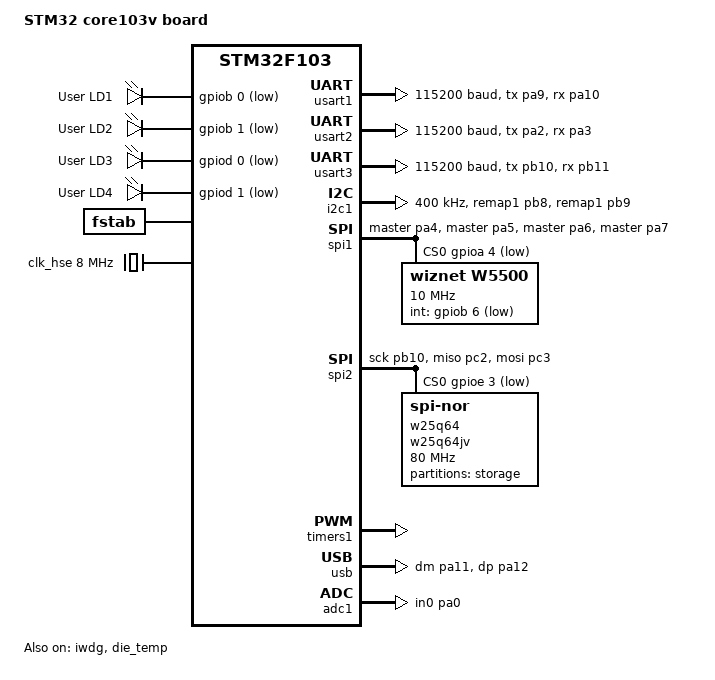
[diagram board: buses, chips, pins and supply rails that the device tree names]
/*
 * Copyright (c) 2020 WuhanStudio
 *
 * SPDX-License-Identifier: Apache-2.0
 */

/dts-v1/;
#include <st/f1/stm32f103Xe.dtsi>
#include <st/f1/stm32f103r(c-d-e)tx-pinctrl.dtsi>

/ {
	model = "STM32 core103v board";
	compatible = "stm32f103";

	chosen {
		zephyr,console = &usart1;
		zephyr,shell-uart = &usart1;
		zephyr,sram = &sram0;
		zephyr,flash = &flash0;
	};

	leds {
		compatible = "gpio-leds";
		g_led_1: led_1 {
			gpios = <&gpiob 0 GPIO_ACTIVE_LOW>;
			label = "User LD1";
		};
		g_led_2: led_2 {
			gpios = <&gpiob 1 GPIO_ACTIVE_LOW>;
			label = "User LD2";
		};
		g_led_3: led_3 {
			gpios = <&gpiod 0 GPIO_ACTIVE_LOW>;
			label = "User LD3";
		};
		g_led_4: led_4 {
			gpios = <&gpiod 1 GPIO_ACTIVE_LOW>;
			label = "User LD4";
		};
	};
	
	fstab {
		compatible = "zephyr,fstab";
		lfs1: lfs1 {
			compatible = "zephyr,fstab,littlefs";
			mount-point = "/lfs:";
			partition = <&storage_partition>;
			automount;
			read-size = <256>;
			prog-size = <256>;
			cache-size = <256>;
			lookahead-size = <256>;
			block-cycles = <512>;
		};
	};

	aliases {
		led0 = &g_led_1;
		led1 = &g_led_2;
		led2 = &g_led_3;
		led3 = &g_led_4;
		watchdog0 = &iwdg;
		die-temp0 = &die_temp;
		spi-flash0 = &w25q64;
	};
};

&clk_lsi {
	status = "okay";
};

&clk_hse {
	clock-frequency = <DT_FREQ_M(8)>;
	status = "okay";
};

&pll {
	mul = <9>;
	clocks = <&clk_hse>;
	status = "okay";
};

&rcc {
	clocks = <&pll>;
	clock-frequency = <DT_FREQ_M(72)>;
	ahb-prescaler = <1>;
	apb1-prescaler = <2>;
	apb2-prescaler = <1>;
	/* usbpre not set: USB clock = 72 / 1.5: 48MHz */
};

&usart1 {
	pinctrl-0 = <&usart1_tx_pa9 &usart1_rx_pa10>;
	pinctrl-names = "default";
	current-speed = <115200>;
	status = "okay";
};

&usart2 {
	pinctrl-0 = <&usart2_tx_pa2 &usart2_rx_pa3>;
	pinctrl-names = "default";
	current-speed = <115200>;
};

&usart3 {
	pinctrl-0 = <&usart3_tx_pb10 &usart3_rx_pb11>;
	pinctrl-names = "default";
	current-speed = <115200>;
};

&i2c1 {
	pinctrl-0 = <&i2c1_scl_remap1_pb8 &i2c1_sda_remap1_pb9>;
	pinctrl-names = "default";
	status = "okay";
	clock-frequency = <I2C_BITRATE_FAST>;
};

// W5500 Ethernet
&spi1 {
	pinctrl-0 = <&spi1_nss_master_pa4 &spi1_sck_master_pa5
		     &spi1_miso_master_pa6 &spi1_mosi_master_pa7>;
	pinctrl-names = "default";
	status = "okay";

	cs-gpios = <&gpioa 4 GPIO_ACTIVE_LOW>;
	w5500: w5500@0 {
        compatible = "wiznet,w5500";
        reg = <0x0>;
        spi-max-frequency = <10000000>;
        int-gpios = <&gpiob 6 GPIO_ACTIVE_LOW>;
    };
};

// W25Q64 Flash 8MB
&spi2 {
	pinctrl-0 = <&spi2_sck_pb10 &spi2_miso_pc2 &spi2_mosi_pc3>;
	pinctrl-names = "default";
	status = "okay";

	cs-gpios = <&gpioe 3 GPIO_ACTIVE_LOW>;
		w25q64: w25q64jv@0 {
		compatible = "jedec,spi-nor";
		reg = <0>;
		spi-max-frequency = <80000000>;
		jedec-id = [ef 40 17];
		size = <0x4000000>;
		has-dpd;
		t-enter-dpd = <3500>;
		t-exit-dpd = <3500>;
	};
};

&w25q64 {
    partitions {
        compatible = "fixed-partitions";
        #address-cells = <1>;
        #size-cells = <1>;

		/* 8 MB partition */
		storage_partition: partition@0 {
			label = "storage";
			reg = <0x00000000 DT_SIZE_M(8)>;
		}; 
    };
};

&iwdg {
	status = "okay";
};

&timers1 {
	st,prescaler = <10000>;
	status = "okay";

	pwm1: pwm {
		status = "okay";
		pinctrl-0 = <&tim1_ch1_pwm_out_pa8>;
		pinctrl-names = "default";
	};
};

zephyr_udc0: &usb {
	pinctrl-0 = <&usb_dm_pa11 &usb_dp_pa12>;
	pinctrl-names = "default";
	status = "okay";
};

&rtc {
	status = "disabled";
};

&adc1 {
	pinctrl-0 = <&adc1_in0_pa0>;
	pinctrl-names = "default";
	status = "okay";
};

&die_temp {
	status = "okay";
};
